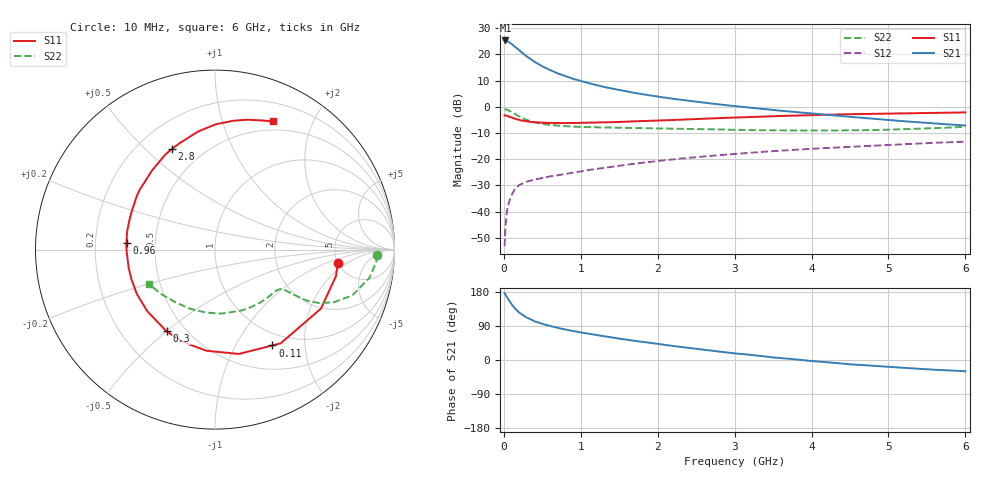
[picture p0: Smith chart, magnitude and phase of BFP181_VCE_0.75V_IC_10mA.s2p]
! Infineon Technologies  Discrete & RF Semiconductors
! BFP181
! VCE = 0.75V,  IC =  10 mA
! Common Emitter S-Parameters:  Jan 2016
# GHz  S  MA  R  50
!  f  S11  S21  S12  S22
! GHz  MAG  ANG  MAG  ANG  MAG  ANG  MAG  ANG
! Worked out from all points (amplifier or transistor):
!   210 points, 10 MHz to 6 GHz, reference 50 ohm
!   highest |S21| = 25.3 dB at 20 MHz (marker M1)
!   |S21| within 3 dB of that: start of sweep to 170 MHz
!   unconditionally stable (mu >= 1): start of sweep to 12.14 MHz; 455.5 MHz to end of sweep
!   at 185 MHz: K = 0.51, MSG = 26.1 dB, |S12| = -30.2 dB
!   at 1.52 GHz: K = 1.84, MAG = 9.1 dB, |S12| = -22.4 dB
!   at 6 GHz: K = 1.62, MAG = -1.5 dB, |S12| = -13.3 dB
!   S11 on the Smith chart (normalised r, x): 10 MHz: 5.01, -1.39; 110 MHz: 0.82, -1.43; 300 MHz: 0.40, -0.50; 960 MHz: 0.34, +0.03; 2.8 GHz: 0.34, +0.61; 6 GHz: 0.40, +1.47
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0.01  0.6878 -6.1  18.45 176.5  0.0022 84.2  0.9032 -2.0
0.02  0.69 -12.4  18.48 173.2  0.0049 80.2  0.9024 -4.1
0.05  0.6758 -29.1  17.86 162.3  0.0122 77.2  0.8751 -10.3
0.1  0.6375 -55.0  15.9 147.1  0.0207 62.9  0.8069 -18.4
0.11  0.6221 -59.1  15.44 144.9  0.022 61.0  0.7902 -19.4
0.15  0.5964 -77.1  13.87 134.5  0.0276 55.2  0.726 -23.8
0.2  0.5656 -94.7  12.02 125.0  0.0323 49.8  0.6577 -27.0
0.24  0.5473 -105.8  10.71 119.1  0.0344 46.2  0.6145 -28.3
0.3  0.5293 -120.6  9.126 111.6  0.0376 43.7  0.5626 -29.4
0.4  0.5102 -137.5  7.226 102.0  0.041 40.7  0.5058 -29.8
0.5  0.501 -150.2  5.931 95.2  0.0441 39.9  0.4717 -29.9
0.6  0.4942 -160.1  5.056 89.5  0.0472 40.6  0.4519 -30.1
0.7  0.4916 -168.2  4.335 84.7  0.0495 41.4  0.4383 -30.4
0.96  0.4945 175.5  3.234 74.4  0.0574 43.2  0.4168 -32.4
1.02  0.4964 172.1  3.05 72.1  0.0593 43.5  0.4137 -33.0
1.5  0.5146 151.7  2.092 56.4  0.0754 45.0  0.3999 -39.6
2.02  0.5482 133.9  1.553 42.0  0.0932 43.9  0.3888 -49.0
2.8  0.6108 113.0  1.115 22.0  0.1197 39.9  0.3711 -66.0
3.1  0.6316 106.1  0.999 15.6  0.1298 38.0  0.3614 -73.4
4.1  0.7022 88.1  0.727 -4.2  0.1613 30.3  0.3532 -101.3
5.1  0.7488 74.9  0.545 -19.5  0.1902 22.6  0.3703 -130.2
6  0.7834 65.7  0.441 -29.7  0.2169 14.8  0.4159 -152.8
